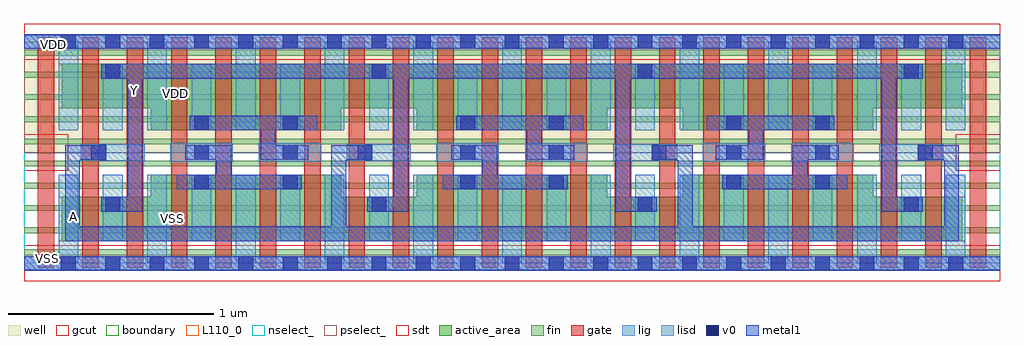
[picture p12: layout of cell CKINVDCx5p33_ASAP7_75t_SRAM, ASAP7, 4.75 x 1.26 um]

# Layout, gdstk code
import gdstk
lib = gdstk.Library(unit=1e-6, precision=2.5e-10)
def R(c, l, rs):  # rectangles x0, y0, x1, y1
    for r in rs: c.add(gdstk.rectangle(r[:2], r[2:], *l))
def A(c, l, x, y, w, h, nx, ny, dx, dy):  # array of equal rectangles
    R(c, l, [(x+i*dx, y+j*dy, x+i*dx+w, y+j*dy+h) for i in range(nx) for j in range(ny)])
def P(c, l, *ps):  # polygons
    for p in ps: c.add(gdstk.Polygon(p, *l))
well = (1, 0)
fin = (2, 0)
gate = (7, 0)
gcut = (10, 0)
active_area = (11, 0)
nselect_ = (12, 0)
pselect_ = (13, 0)
lig = (16, 0)
lisd = (17, 0)
v0 = (18, 0)
metal1 = (19, 0)
sdt = (88, 0)
boundary = (100, 0)
L110_0 = (110, 0)

ckinvdcx5p33_asap7_75t_s = lib.new_cell('CKINVDCx5p33_ASAP7_75t_SRAM')
R(ckinvdcx5p33_asap7_75t_s, well, [(0,0.54,4.752,1.08)])
A(ckinvdcx5p33_asap7_75t_s, fin, 0, 0.04, 4.752, 0.028, 1, 10, 0, 0.108)
A(ckinvdcx5p33_asap7_75t_s, gate, 0.068, -0.02, 0.08, 1.12, 3, 1, 0.216, 0)
A(ckinvdcx5p33_asap7_75t_s, gate, 0.716, -0.02, 0.08, 1.12, 4, 1, 0.216, 0)
A(ckinvdcx5p33_asap7_75t_s, gate, 2.012, -0.02, 0.08, 1.12, 4, 1, 0.216, 0)
A(ckinvdcx5p33_asap7_75t_s, gate, 3.308, -0.02, 0.08, 1.12, 4, 1, 0.216, 0)
A(ckinvdcx5p33_asap7_75t_s, gate, 4.172, -0.02, 0.08, 1.12, 3, 1, 0.216, 0)
R(ckinvdcx5p33_asap7_75t_s, gate, [(0.5,-0.02,0.58,1.1), (0.716,-0.02,0.796,1.1), (1.364,-0.02,1.444,1.1), (1.58,-0.02,1.66,1.1), (1.58,-0.02,1.66,1.1), (1.796,-0.02,1.876,1.1), (1.796,-0.02,1.876,1.1), (2.012,-0.02,2.092,1.1), (2.66,-0.02,2.74,1.1), (2.876,-0.02,2.956,1.1), (2.876,-0.02,2.956,1.1), (3.092,-0.02,3.172,1.1), (3.092,-0.02,3.172,1.1), (3.308,-0.02,3.388,1.1), (3.956,-0.02,4.036,1.1), (4.172,-0.02,4.252,1.1)])
R(ckinvdcx5p33_asap7_75t_s, gcut, [(0,-0.088,4.752,0.088), (0,0.452,0.216,0.628), (4.536,0.452,4.752,0.628), (0,0.992,4.752,1.168)])
P(ckinvdcx5p33_asap7_75t_s, active_area, [(4.568,0.324),(4.136,0.324),(4.136,0.432),(3.208,0.432),(3.208,0.324),(2.84,0.324),(2.84,0.432),(1.912,0.432),(1.912,0.324),(1.544,0.324),(1.544,0.432),(0.616,0.432),(0.616,0.324),(0.184,0.324),(0.184,0.108),(4.568,0.108)],
  [(4.568,0.972),(0.184,0.972),(0.184,0.756),(0.616,0.756),(0.616,0.648),(1.544,0.648),(1.544,0.756),(1.912,0.756),(1.912,0.648),(2.84,0.648),(2.84,0.756),(3.208,0.756),(3.208,0.648),(4.136,0.648),(4.136,0.756),(4.568,0.756)])
R(ckinvdcx5p33_asap7_75t_s, nselect_, [(0,0,4.752,0.54)])
R(ckinvdcx5p33_asap7_75t_s, pselect_, [(0,0.54,4.752,1.08)])
A(ckinvdcx5p33_asap7_75t_s, lig, 0.276, 0.5, 0.312, 0.08, 4, 1, 1.296, 0)
R(ckinvdcx5p33_asap7_75t_s, lig, [(0,-0.032,4.752,0.032), (0.712,0.496,1.016,0.584), (1.144,0.496,1.448,0.584), (2.008,0.496,2.312,0.584), (2.44,0.496,2.744,0.584), (3.304,0.496,3.608,0.584), (3.736,0.496,4.04,0.584), (0,1.048,4.752,1.112)])
A(ckinvdcx5p33_asap7_75t_s, lisd, 0.168, 0, 0.096, 0.432, 11, 2, 0.432, 0.648)
A(ckinvdcx5p33_asap7_75t_s, lisd, 0.384, 0.108, 0.096, 0.324, 10, 2, 0.432, 0.54)
A(ckinvdcx5p33_asap7_75t_s, v0, 0.18, -0.036, 0.072, 0.072, 21, 2, 0.216, 1.08)
A(ckinvdcx5p33_asap7_75t_s, v0, 0.396, 0.252, 0.072, 0.072, 4, 2, 1.296, 0.648)
A(ckinvdcx5p33_asap7_75t_s, v0, 0.828, 0.36, 0.072, 0.072, 1, 3, 0, 0.144)
A(ckinvdcx5p33_asap7_75t_s, v0, 1.26, 0.36, 0.072, 0.072, 1, 3, 0, 0.144)
A(ckinvdcx5p33_asap7_75t_s, v0, 2.124, 0.36, 0.072, 0.072, 1, 3, 0, 0.144)
A(ckinvdcx5p33_asap7_75t_s, v0, 2.556, 0.36, 0.072, 0.072, 1, 3, 0, 0.144)
A(ckinvdcx5p33_asap7_75t_s, v0, 3.42, 0.36, 0.072, 0.072, 1, 3, 0, 0.144)
A(ckinvdcx5p33_asap7_75t_s, v0, 3.852, 0.36, 0.072, 0.072, 1, 3, 0, 0.144)
R(ckinvdcx5p33_asap7_75t_s, v0, [(0.328,0.504,0.4,0.576), (1.624,0.504,1.696,0.576), (3.056,0.504,3.128,0.576), (4.352,0.504,4.424,0.576)])
R(ckinvdcx5p33_asap7_75t_s, metal1, [(0,-0.036,4.752,0.036), (0,1.044,4.752,1.116)])
P(ckinvdcx5p33_asap7_75t_s, metal1, [(4.552,0.576),(4.352,0.576),(4.352,0.504),(4.48,0.504),(4.48,0.18),(3.256,0.18),(3.256,0.576),(3.056,0.576),(3.056,0.504),(3.184,0.504),(3.184,0.18),(1.568,0.18),(1.568,0.504),(1.696,0.504),(1.696,0.576),(1.496,0.576),(1.496,0.18),(0.272,0.18),(0.272,0.504),(0.4,0.504),(0.4,0.576),(0.2,0.576),(0.2,0.108),(4.552,0.108)],
  [(4.376,0.324),(4.248,0.324),(4.248,0.9),(4.376,0.9),(4.376,0.972),(0.376,0.972),(0.376,0.9),(0.504,0.9),(0.504,0.324),(0.376,0.324),(0.376,0.252),(0.576,0.252),(0.576,0.9),(1.8,0.9),(1.8,0.324),(1.672,0.324),(1.672,0.252),(1.872,0.252),(1.872,0.9),(2.88,0.9),(2.88,0.252),(3.08,0.252),(3.08,0.324),(2.952,0.324),(2.952,0.9),(4.176,0.9),(4.176,0.252),(4.376,0.252)],
  [(4.008,0.432),(3.816,0.432),(3.816,0.504),(3.968,0.504),(3.968,0.576),(3.744,0.576),(3.744,0.432),(3.4,0.432),(3.4,0.36),(4.008,0.36)],
  [(3.944,0.72),(3.324,0.72),(3.324,0.648),(3.528,0.648),(3.528,0.576),(3.368,0.576),(3.368,0.504),(3.6,0.504),(3.6,0.648),(3.944,0.648)],
  [(2.724,0.72),(2.104,0.72),(2.104,0.648),(2.448,0.648),(2.448,0.504),(2.68,0.504),(2.68,0.576),(2.52,0.576),(2.52,0.648),(2.724,0.648)],
  [(2.648,0.432),(2.304,0.432),(2.304,0.576),(2.08,0.576),(2.08,0.504),(2.232,0.504),(2.232,0.432),(2.04,0.432),(2.04,0.36),(2.648,0.36)],
  [(1.428,0.72),(0.808,0.72),(0.808,0.648),(1.152,0.648),(1.152,0.504),(1.384,0.504),(1.384,0.576),(1.224,0.576),(1.224,0.648),(1.428,0.648)],
  [(1.352,0.432),(1.008,0.432),(1.008,0.576),(0.784,0.576),(0.784,0.504),(0.936,0.504),(0.936,0.432),(0.744,0.432),(0.744,0.36),(1.352,0.36)])
A(ckinvdcx5p33_asap7_75t_s, sdt, 0.384, 0.108, 0.096, 0.216, 4, 2, 1.296, 0.648)
A(ckinvdcx5p33_asap7_75t_s, sdt, 0.6, 0.108, 0.096, 0.324, 5, 2, 0.216, 0.54)
A(ckinvdcx5p33_asap7_75t_s, sdt, 1.896, 0.108, 0.096, 0.324, 5, 2, 0.216, 0.54)
A(ckinvdcx5p33_asap7_75t_s, sdt, 3.192, 0.108, 0.096, 0.324, 5, 2, 0.216, 0.54)
R(ckinvdcx5p33_asap7_75t_s, sdt, [(0.168,0.108,0.264,0.324), (4.488,0.108,4.584,0.324), (0.168,0.756,0.264,0.972), (4.488,0.756,4.584,0.972)])
R(ckinvdcx5p33_asap7_75t_s, boundary, [(0,0,4.752,1.08)])
R(ckinvdcx5p33_asap7_75t_s, L110_0, [(0,0,4.752,1.08)])
ckinvdcx5p33_asap7_75t_s.add(gdstk.Label('VSS', (0.724,0.22), layer=3, texttype=251))
ckinvdcx5p33_asap7_75t_s.add(gdstk.Label('VDD', (0.736,0.828), layer=1, texttype=251))
ckinvdcx5p33_asap7_75t_s.add(gdstk.Label('VSS', (0.116,0.024), layer=19, texttype=251))
ckinvdcx5p33_asap7_75t_s.add(gdstk.Label('VDD', (0.144,1.066), layer=19, texttype=251))
ckinvdcx5p33_asap7_75t_s.add(gdstk.Label('Y', (0.54,0.84), layer=19, texttype=251))
ckinvdcx5p33_asap7_75t_s.add(gdstk.Label('A', (0.24,0.228), layer=19, texttype=251))

lib.write_gds('CKINVDCx5p33_ASAP7_75t_SRAM.gds')
